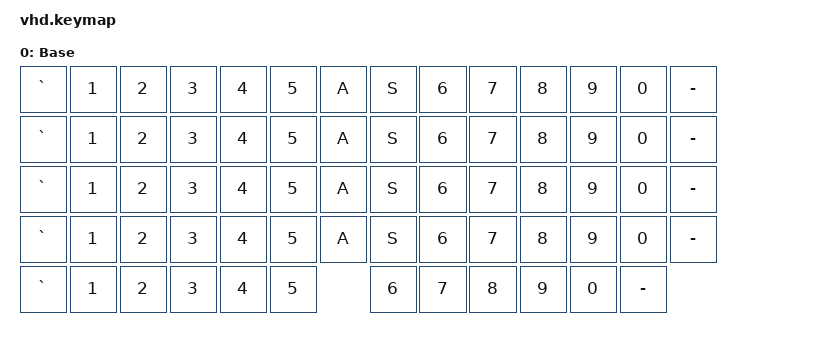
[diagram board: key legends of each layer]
/*
 * Copyright (c) 2020 The ZMK Contributors
 *
 * SPDX-License-Identifier: MIT
 */

#include <behaviors.dtsi>
#include <dt-bindings/zmk/keys.h>
#include <dt-bindings/zmk/bt.h>


/ {
        keymap {
                compatible = "zmk,keymap";

        default_layer {
            display-name = "Base";
            bindings = <
&kp GRAVE     &kp N1       &kp N2    &kp N3    &kp N4           &kp N5    &kp A        &kp S       &kp N6        &kp N7          &kp N8          &kp N9           &kp N0         &kp MINUS
&kp GRAVE     &kp N1       &kp N2    &kp N3    &kp N4           &kp N5       &kp A        &kp S    &kp N6        &kp N7          &kp N8          &kp N9           &kp N0         &kp MINUS
&kp GRAVE     &kp N1       &kp N2    &kp N3    &kp N4           &kp N5     &kp A        &kp S      &kp N6        &kp N7          &kp N8          &kp N9           &kp N0         &kp MINUS
&kp GRAVE     &kp N1       &kp N2    &kp N3    &kp N4           &kp N5    &kp A        &kp S       &kp N6        &kp N7          &kp N8          &kp N9           &kp N0         &kp MINUS
&kp GRAVE     &kp N1       &kp N2    &kp N3    &kp N4           &kp N5           &kp N6        &kp N7          &kp N8          &kp N9           &kp N0         &kp MINUS

                        >;
                };

        };
};
